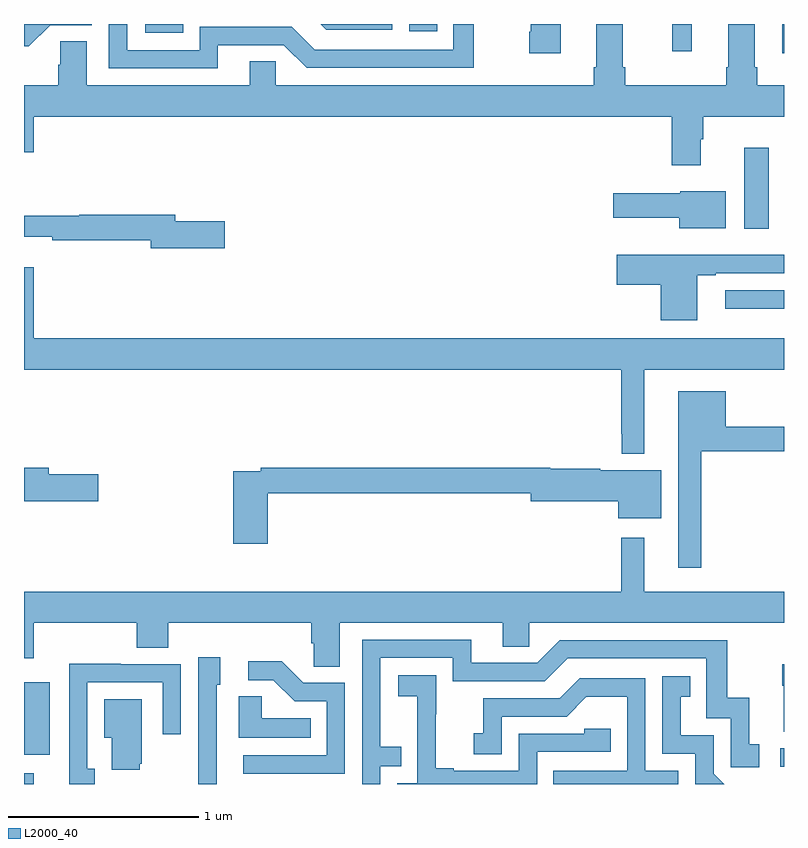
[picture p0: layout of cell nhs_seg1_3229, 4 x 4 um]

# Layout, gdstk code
import gdstk
lib = gdstk.Library(unit=1e-6, precision=1e-09)
def R(c, l, rs):  # rectangles x0, y0, x1, y1
    for r in rs: c.add(gdstk.rectangle(r[:2], r[2:], *l))
def P(c, l, *ps):  # polygons
    for p in ps: c.add(gdstk.Polygon(p, *l))
L2000_40 = (2000, 40)

nhs_seg1_3229 = lib.new_cell('nhs_seg1_3229')
R(nhs_seg1_3229, L2000_40, [(285,568.199,285.052,568.255), (288.981,568.29,289,568.386), (285,568.353,285.136,568.734), (288.69,570.701,289,570.798), (288.791,571.122,288.919,571.549), (288.992,572.046,289,572.199), (288.412,572.055,288.515,572.199), (285.639,572.153,285.837,572.199), (287.028,572.16,287.174,572.199)])
P(nhs_seg1_3229, L2000_40, [(286.021,572.088),(286.368,572.088),(286.488,571.968),(287.368,571.968),(287.368,572.199),(287.259,572.199),(287.259,572.064),(286.53,572.064),(286.41,572.184),(285.924,572.184),(285.924,572.061),(285.543,572.061),(285.543,572.199),(285.447,572.199),(285.447,571.965),(286.021,571.965)],
  [(287.824,572.199),(287.666,572.199),(287.666,572.158),(287.659,572.158),(287.659,572.046),(287.824,572.046)],
  [(286.938,572.199),(286.562,572.199),(286.592,572.169),(286.938,572.169)],
  [(285.138,572.193),(285.357,572.193),(285.357,572.199),(285.002,572.199),(285,572.197),(285,572.081),(285.025,572.081)],
  [(288.562,571.592),(288.575,571.592),(288.575,571.712),(289,571.712),(289,571.876),(288.86,571.876),(288.86,571.972),(288.847,571.972),(288.847,572.197),(288.707,572.197),(288.707,571.972),(288.695,571.972),(288.695,571.876),(288.164,571.876),(288.164,571.972),(288.151,571.972),(288.151,572.199),(288.011,572.199),(288.011,571.972),(287.999,571.972),(287.999,571.876),(286.326,571.876),(286.326,572.003),(286.187,572.003),(286.187,571.876),(285.331,571.876),(285.331,572.108),(285.192,572.108),(285.192,571.985),(285.179,571.985),(285.179,571.876),(285,571.876),(285,571.524),(285.052,571.524),(285.052,571.712),(288.41,571.712),(288.41,571.455),(288.562,571.455)],
  [(288.694,571.318),(288.453,571.318),(288.453,571.308),(288.102,571.308),(288.102,571.178),(288.449,571.178),(288.449,571.124),(288.694,571.124)],
  [(286.057,571.16),(285.796,571.16),(285.796,571.196),(285.292,571.196),(285.292,571.189),(285,571.189),(285,571.079),(285.148,571.079),(285.148,571.06),(285.668,571.06),(285.668,571.018),(286.057,571.018)],
  [(288.544,570.876),(288.64,570.876),(288.64,570.888),(289,570.888),(289,570.985),(288.12,570.985),(288.12,570.827),(288.35,570.827),(288.35,570.641),(288.544,570.641)],
  [(288.265,570.38),(289,570.38),(289,570.544),(285.052,570.544),(285.052,570.919),(285,570.919),(285,570.38),(288.144,570.38),(288.144,570.043),(288.145,570.043),(288.145,569.936),(288.265,569.936)],
  [(288.565,569.95),(289,569.95),(289,570.079),(288.694,570.079),(288.694,570.265),(288.443,570.265),(288.443,569.337),(288.565,569.337)],
  [(286.283,569.728),(287.666,569.728),(287.666,569.686),(288.128,569.686),(288.128,569.597),(288.355,569.597),(288.355,569.851),(288.032,569.851),(288.032,569.858),(287.77,569.858),(287.77,569.864),(286.246,569.864),(286.246,569.844),(286.1,569.844),(286.1,569.463),(286.283,569.463)],
  [(285.391,569.828),(285.13,569.828),(285.13,569.864),(285,569.864),(285,569.728),(285.002,569.728),(285.002,569.686),(285.391,569.686)],
  [(286.663,569.048),(287.519,569.048),(287.519,568.921),(287.658,568.921),(287.658,569.048),(289,569.048),(289,569.212),(288.265,569.212),(288.265,569.494),(288.144,569.494),(288.144,569.212),(285,569.212),(285,568.86),(285.052,568.86),(285.052,569.048),(285.593,569.048),(285.593,568.915),(285.758,568.915),(285.758,569.048),(286.511,569.048),(286.511,568.939),(286.524,568.939),(286.524,568.816),(286.663,568.816)],
  [(286.875,568.293),(286.985,568.293),(286.985,568.394),(286.875,568.394),(286.875,568.863),(287.256,568.863),(287.256,568.74),(287.742,568.74),(287.862,568.86),(288.591,568.86),(288.591,568.545),(288.72,568.545),(288.72,568.287),(288.871,568.287),(288.871,568.407),(288.818,568.407),(288.818,568.654),(288.7,568.654),(288.7,568.956),(287.82,568.956),(287.7,568.836),(287.353,568.836),(287.353,568.959),(286.779,568.959),(286.779,568.199),(286.875,568.199)],
  [(286.014,568.722),(286.033,568.722),(286.033,568.867),(285.918,568.867),(285.918,568.373),(285.916,568.373),(285.916,568.199),(286.014,568.199)],
  [(286.689,568.731),(286.47,568.731),(286.357,568.844),(286.179,568.844),(286.179,568.746),(286.313,568.746),(286.424,568.635),(286.593,568.635),(286.593,568.35),(286.155,568.35),(286.155,568.254),(286.689,568.254)],
  [(285.373,568.278),(285.333,568.278),(285.333,568.734),(285.729,568.734),(285.729,568.461),(285.825,568.461),(285.825,568.83),(285.509,568.83),(285.509,568.832),(285.237,568.832),(285.237,568.199),(285.373,568.199)],
  [(289,568.828),(288.991,568.828),(288.991,568.715),(288.998,568.715),(288.998,568.475),(289,568.475)],
  [(287.7,568.368),(288.089,568.368),(288.089,568.491),(287.949,568.491),(287.949,568.464),(287.604,568.464),(287.604,568.269),(287.263,568.269),(287.263,568.282),(287.168,568.282),(287.168,568.565),(287.169,568.565),(287.169,568.771),(286.971,568.771),(286.971,568.661),(287.069,568.661),(287.069,568.433),(287.07,568.433),(287.07,568.203),(286.965,568.203),(286.965,568.199),(287.7,568.199)],
  [(288.63,568.254),(288.63,568.455),(288.457,568.455),(288.457,568.659),(288.506,568.659),(288.506,568.765),(288.36,568.765),(288.36,568.359),(288.534,568.359),(288.534,568.199),(288.685,568.199)],
  [(288.444,568.269),(288.27,568.269),(288.27,568.755),(287.924,568.755),(287.819,568.65),(287.416,568.65),(287.416,568.465),(287.367,568.465),(287.367,568.356),(287.514,568.356),(287.514,568.554),(287.856,568.554),(287.96,568.658),(288.174,568.658),(288.174,568.269),(287.785,568.269),(287.785,568.199),(288.444,568.199)],
  [(286.508,568.546),(286.251,568.546),(286.251,568.661),(286.13,568.661),(286.13,568.442),(286.508,568.442)],
  [(285.608,568.305),(285.619,568.305),(285.619,568.645),(285.422,568.645),(285.422,568.442),(285.461,568.442),(285.461,568.274),(285.608,568.274)])

lib.write_gds('nhs_seg1_3229.gds')
